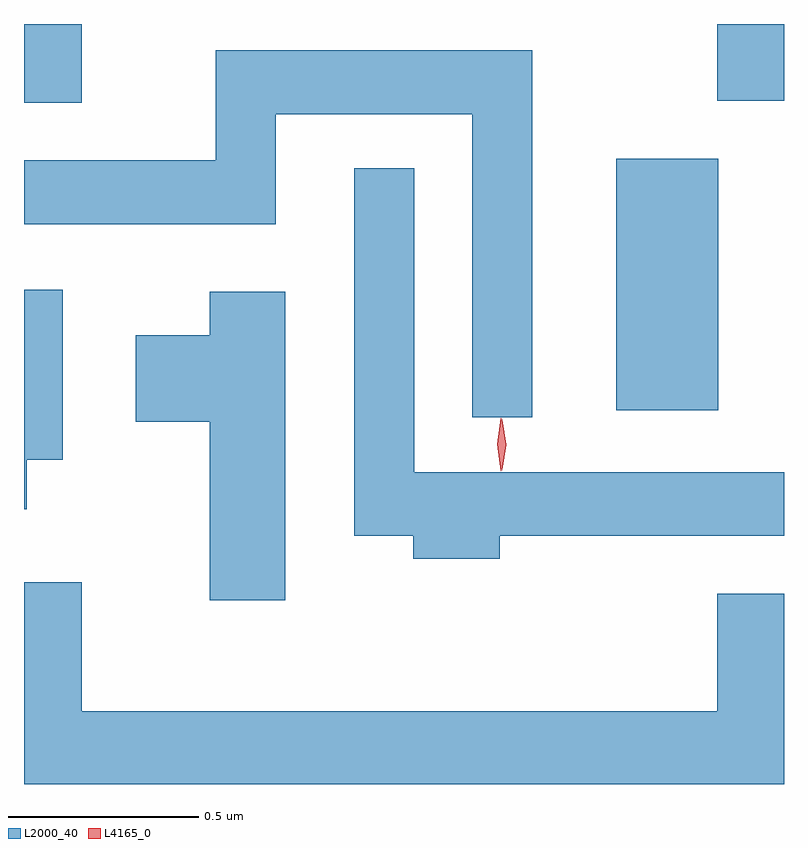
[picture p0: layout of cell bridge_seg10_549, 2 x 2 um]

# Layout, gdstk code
import gdstk
lib = gdstk.Library(unit=1e-6, precision=1e-09)
def R(c, l, rs):  # rectangles x0, y0, x1, y1
    for r in rs: c.add(gdstk.rectangle(r[:2], r[2:], *l))
def P(c, l, *ps):  # polygons
    for p in ps: c.add(gdstk.Polygon(p, *l))
L2000_40 = (2000, 40)
L4165_0 = (4165, 0)

bridge_seg10_549 = lib.new_cell('bridge_seg10_549')
R(bridge_seg10_549, L2000_40, [(772.846,2152.716,773.114,2153.379), (771.287,2153.526,771.439,2153.733), (773.111,2153.531,773.287,2153.733)])
P(bridge_seg10_549, L2000_40, [(772.624,2153.664),(771.791,2153.664),(771.791,2153.374),(771.287,2153.374),(771.287,2153.206),(771.949,2153.206),(771.949,2153.496),(772.466,2153.496),(772.466,2152.698),(772.624,2152.698)],
  [(772.539,2152.386),(773.287,2152.386),(773.287,2152.554),(772.314,2152.554),(772.314,2153.353),(772.156,2153.353),(772.156,2152.386),(772.311,2152.386),(772.311,2152.326),(772.539,2152.326)],
  [(771.294,2152.586),(771.389,2152.586),(771.389,2153.034),(771.287,2153.034),(771.287,2152.456),(771.294,2152.456)],
  [(771.974,2153.029),(771.776,2153.029),(771.776,2152.914),(771.581,2152.914),(771.581,2152.686),(771.776,2152.686),(771.776,2152.216),(771.974,2152.216)],
  [(773.287,2152.234),(773.111,2152.234),(773.111,2151.924),(771.439,2151.924),(771.439,2152.264),(771.287,2152.264),(771.287,2151.733),(773.287,2151.733)])
P(bridge_seg10_549, L4165_0, [(772.542,2152.557),(772.533,2152.627),(772.542,2152.696),(772.543,2152.696),(772.543,2152.696),(772.553,2152.627),(772.543,2152.557),(772.543,2152.557)],
  [(772.546,2152.559),(772.545,2152.56),(772.536,2152.626),(772.545,2152.692),(772.546,2152.693),(772.546,2152.692),(772.556,2152.626),(772.546,2152.56)])

lib.write_gds('bridge_seg10_549.gds')
